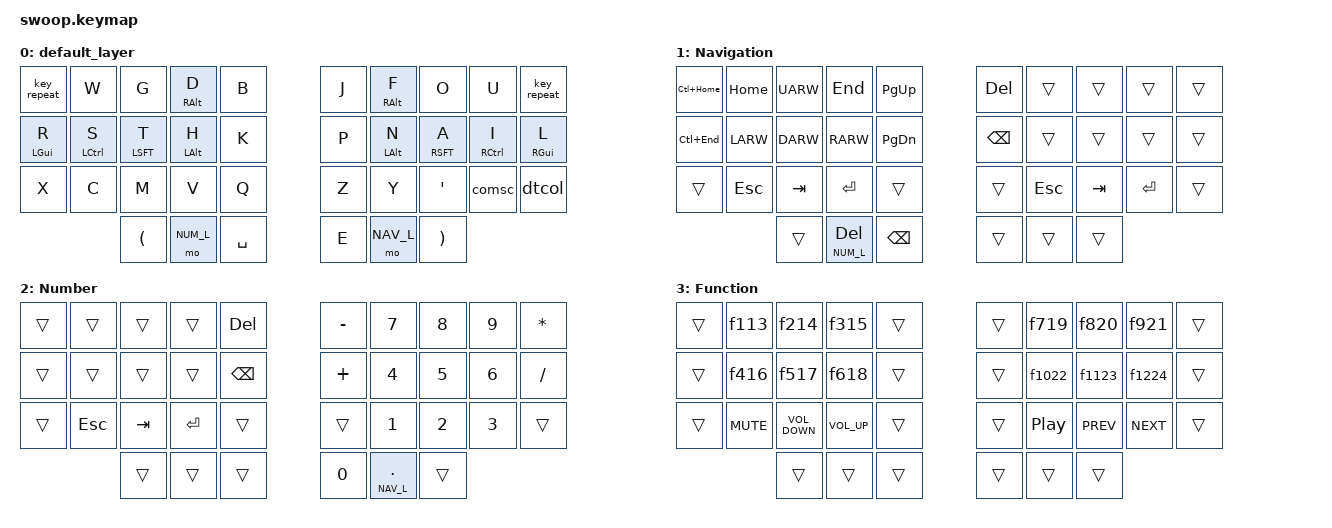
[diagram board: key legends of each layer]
/*
 * Copyright (c) 2020 The ZMK Contributors
 * SPDX-License-Identifier: MIT
 *
 * This is an APTex keymap for the Swoop keyboard.
 * Last edited by James White, July 20, 2022.
 */

#include <behaviors.dtsi>
#include <dt-bindings/zmk/keys.h>
#include <dt-bindings/zmk/bt.h>

&kscan0 {
    debounce-press-ms = <10>;
    debounce-release-ms = <10>;
};

#define DEF_L 0
#define NAV_L 1
#define NUM_L 2
#define FUN_L 3
/ {
    conditional_layers {
        compatible = "zmk,conditional-layers";
        tri_layer {
            if-layers = <1 2>;
            then-layer = <3>;
        };
    };
};

/ {
    behaviors {
        lhm: left_homerow_mods {
            compatible = "zmk,behavior-hold-tap";
            label = "LEFT_HOMEROW_MODS";
            #binding-cells = <2>;
            tapping-term-ms = <240>;
            quick-tap-ms = <0>;
            hold-trigger-key-positions = <5 6 7 8 9 15 16 17 18 19 25 26 27 28 29 30 31 32 33 34 35>;
            global-quick-tap;
            flavor = "tap-preferred";
            bindings = <&kp>, <&kp>;
        };
        rhm: right_homerow_mods {
            compatible = "zmk,behavior-hold-tap";
            label = "RIGHT_HOMEROW_MODS";
            #binding-cells = <2>;
            tapping-term-ms = <240>;
            quick-tap-ms = <0>;
            hold-trigger-key-positions = <0 1 2 3 4 10 11 12 13 14 20 21 22 23 24 30 31 32 33 34 35>;
            global-quick-tap;
            flavor = "tap-preferred";
            bindings = <&kp>, <&kp>;
        };
        comsc: comma_semicolon {
            compatible = "zmk,behavior-mod-morph";
            label = "COMMA_SEMICOLON";
            #binding-cells = <0>;
            bindings = <&kp COMMA>, <&kp SEMI>;
            mods = <(MOD_LSFT|MOD_RSFT)>;
            masked_mods = <(MOD_LSFT|MOD_RSFT)>;
        };
        dtcol: dot_colon {
            compatible = "zmk,behavior-mod-morph";
            label = "DOT_COLON";
            #binding-cells = <0>;
            bindings = <&kp DOT>, <&kp COLON>;
            mods = <(MOD_LSFT|MOD_RSFT)>;
        };
        lplt: left_parenthesis_less_than {
            compatible = "zmk,behavior-mod-morph";
            label = "LEFT_PARENTHESIS_LESS_THAN";
            #binding-cells = <0>;
            bindings = <&kp LPAR>, <&kp LT>;
            mods = <(MOD_LSFT|MOD_RSFT)>;
        };
        rpgt: right_parenthesis_greater_than {
            compatible = "zmk,behavior-mod-morph";
            label = "RIGHT_PARENTHESIS_GREATER_THAN";
            #binding-cells = <0>;
            bindings = <&kp RPAR>, <&kp GT>;
            mods = <(MOD_LSFT|MOD_RSFT)>;
        };
        f113: f_one_thirteen {
            compatible = "zmk,behavior-mod-morph";
            label = "F1 F13";
            #binding-cells = <0>;
            bindings = <&kp F1>, <&kp F13>;
            mods = <(MOD_RALT)>;
        };
        f214: f_two_fourteen {
            compatible = "zmk,behavior-mod-morph";
            label = "F2 F14";
            #binding-cells = <0>;
            bindings = <&kp F2>, <&kp F14>;
            mods = <(MOD_RALT)>;
        };
        f315: f_three_fifteen {
            compatible = "zmk,behavior-mod-morph";
            label = "F3 F15";
            #binding-cells = <0>;
            bindings = <&kp F3>, <&kp F15>;
            mods = <(MOD_RALT)>;
        };
        f416: f_four_sixteen {
            compatible = "zmk,behavior-mod-morph";
            label = "F4 F15";
            #binding-cells = <0>;
            bindings = <&kp F4>, <&kp F15>;
            mods = <(MOD_RALT)>;
        };
        f517: f_five_seventeen {
            compatible = "zmk,behavior-mod-morph";
            label = "F5 F17";
            #binding-cells = <0>;
            bindings = <&kp F5>, <&kp F17>;
            mods = <(MOD_RALT)>;
        };
        f618: f_six_eighteen {
            compatible = "zmk,behavior-mod-morph";
            label = "F6 F18";
            #binding-cells = <0>;
            bindings = <&kp F6>, <&kp F18>;
            mods = <(MOD_RALT)>;
        };
        f719: f_seven_nineteen {
            compatible = "zmk,behavior-mod-morph";
            label = "F7 F19";
            #binding-cells = <0>;
            bindings = <&kp F7>, <&kp F19>;
            mods = <(MOD_RALT)>;
        };
        f820: f_eight_twenty {
            compatible = "zmk,behavior-mod-morph";
            label = "F8 F20";
            #binding-cells = <0>;
            bindings = <&kp F8>, <&kp F20>;
            mods = <(MOD_RALT)>;
        };
        f921: f_nine_twentyone {
            compatible = "zmk,behavior-mod-morph";
            label = "F9 F21";
            #binding-cells = <0>;
            bindings = <&kp F9>, <&kp F21>;
            mods = <(MOD_RALT)>;
        };
        f1022: f_ten_twentytwo {
            compatible = "zmk,behavior-mod-morph";
            label = "F10 F22";
            #binding-cells = <0>;
            bindings = <&kp F10>, <&kp F22>;
            mods = <(MOD_RALT)>;
        };
        f1123: f_eleven_twentythree {
            compatible = "zmk,behavior-mod-morph";
            label = "F11 F23";
            #binding-cells = <0>;
            bindings = <&kp F11>, <&kp F23>;
            mods = <(MOD_RALT)>;
        };
        f1224: f_twelve_twentyfour {
            compatible = "zmk,behavior-mod-morph";
            label = "F12 F24";
            #binding-cells = <0>;
            bindings = <&kp F12>, <&kp F24>;
            mods = <(MOD_RALT)>;
        };
    };

    combos {
        compatible = "zmk,combos";
        combo_left_brace {
            timeout-ms = <50>;
            key-positions = <1 2>;
            layers = <1>;
            bindings = <&kp LBRC>;
        };
        combo_right_brace {
            timeout-ms = <50>;
            key-positions = <2 3>;
            layers = <1>;
            bindings = <&kp RBRC>;
        };
        combo_left_parenthesis {
            timeout-ms = <50>;
            key-positions = <11 12>;
            layers = <1>;
            bindings = <&lplt>;
        };
        combo_right_parenthesis {
            timeout-ms = <50>;
            key-positions = <12 13>;
            layers = <1>;
            bindings = <&rpgt>;
        };
        combo_left_bracket {
            timeout-ms = <50>;
            key-positions = <21 22>;
            layers = <1>;
            bindings = <&kp LBKT>;
        };
        combo_right_bracket {
            timeout-ms = <50>;
            key-positions = <22 23>;
            layers = <1>;
            bindings = <&kp RBKT>;
        };
        combo_grave {
            timeout-ms = <50>;
            key-positions = <6 7>;
            layers = <2>;
            bindings = <&kp GRAVE>;
        };
        combo_backslash {
            timeout-ms = <50>;
            key-positions = <7 8>;
            layers = <2>;
            bindings = <&kp BSLH>;
        };
        combo_minus {
            timeout-ms = <50>;
            key-positions = <16 17>;
            layers = <2>;
            bindings = <&kp MINUS>;
        };
        combo_equal {
            timeout-ms = <50>;
            key-positions = <17 18>;
            layers = <2>;
            bindings = <&kp EQUAL>;
        };
        combo_forward_slash {
            timeout-ms = <50>;
            key-positions = <26 27>;
            layers = <2>;
            bindings = <&kp SLASH>;
        };
        combo_question_mark {
            timeout-ms = <50>;
            key-positions = <27 28>;
            layers = <2>;
            bindings = <&kp QMARK>;
        };
        combo_ctl_sft_tab {
            timeout-ms = <25>;
            key-positions = <1 2 3>;
            layers = <0>;
            bindings = <&kp LC(LS(TAB))>;
        };
        combo_alt_sft_tab {
            timeout-ms = <25>;
            key-positions = <11 12 13>;
            layers = <0>;
            bindings = <&kp LA(LS(TAB))>;
        };
        combo_gui_sft_tab {
            timeout-ms = <25>;
            key-positions = <21 22 23>;
            layers = <0>;
            bindings = <&kp LG(LS(TAB))>;
        };
        combo_ctl_tab {
            timeout-ms = <25>;
            key-positions = <6 7 8>;
            layers = <0>;
            bindings = <&kp LC(TAB)>;
        };
        combo_alt_tab {
            timeout-ms = <25>;
            key-positions = <16 17 18>;
            layers = <0>;
            bindings = <&kp LA(TAB)>;
        };
        combo_gui_tab {
            timeout-ms = <25>;
            key-positions = <26 27 28>;
            layers = <0>;
            bindings = <&kp LG(TAB)>;
        };
        combo_cut {
            timeout-ms = <50>;
            key-positions = <1 2 3>;
            layers = <1>;
            bindings = <&kp LS(DEL)>;
        };
        combo_copy {
            timeout-ms = <50>;
            key-positions = <11 12 13>;
            layers = <1>;
            bindings = <&kp LC(INS)>;
        };
        combo_paste {
            timeout-ms = <50>;
            key-positions = <21 22 23>;
            layers = <1 2>;
            bindings = <&kp LS(INS)>;
        };
        combo_quit {
            timeout-ms = <50>;
            key-positions = <21 22>;
            layers = <2>;
            bindings = <&kp LG(Q)>;
        };
        combo_save {
            timeout-ms = <50>;
            key-positions = <22 23>;
            layers = <2>;
            bindings = <&kp LC(S)>;
        };
        combo_kwin_rotate {
            timeout-ms = <50>;
            key-positions = <6 7 8>;
            layers = <2>;
            bindings = <&kp LG(R)>;
        };
        combo_kwin_overview {
            timeout-ms = <50>;
            key-positions = <16 17 18>;
            layers = <2>;
            bindings = <&kp LG(W)>;
        };
        combo_krunner {
            timeout-ms = <50>;
            key-positions = <26 27 28>;
            layers = <1 2>;
            bindings = <&kp LG(SPC)>;
        };
        combo_toggle_navigation_layer {
            timeout-ms = <50>;
            key-positions = <10 11 12 13>;
            layers = <0 1>;
            bindings = <&tog NAV_L>;
        };
        combo_toggle_number_layer {
            timeout-ms = <50>;
            key-positions = <16 17 18 19>;
            layers = <0 2>;
            bindings = <&tog NUM_L>;
        };
        combo_cancel_stickies_left {
            timeout-ms = <50>;
            key-positions = <10 11 12 13>;
            layers = <2>;
            bindings = <&kp F21>;
        };
        combo_cancel_stickies_right {
            timeout-ms = <50>;
            key-positions = <16 17 18 19>;
            layers = <1>;
            bindings = <&kp F21>;
        };
        combo_caps_word {
            timeout-ms = <50>;
            key-positions = <13 16>;
            layers = <3>;
            bindings = <&caps_word>;
        };
        combo_printscreen {
            timeout-ms = <50>;
            key-positions = <32 33>;
            layers = <0>;
            bindings = <&kp PSCRN>;
        };
    };
};

#define LHM_LG_R &lhm LGUI R
#define LHM_LC_S &lhm LCTL S
#define LHM_LS_T &lhm LSFT T
#define LHM_LA_H &lhm LALT H
#define LHM_RA_D &lhm RALT D
#define RHM_RA_F &rhm RALT F
#define RHM_LA_N &rhm LALT N
#define RHM_RS_A &rhm RSFT A
#define RHM_RC_I &rhm RCTL I
#define RHM_RG_L &rhm RGUI L
#define LT_NM_DEL &lt NUM_L DEL
#define LT_NV_DOT &lt NAV_L DOT
#define REPEAT &key_repeat
#define TOP &kp LC(HOME)
#define BOTTOM &kp LC(END)
#define MUTE &kp C_MUTE
#define VOL_UP &kp C_VOLUME_DOWN
#define VOL_DN &kp C_VOLUME_UP
#define MEDIA_PP &kp C_PLAY_PAUSE
#define MEDIA_PV &kp C_PREV
#define MEDIA_NX &kp C_NEXT

/ {
    keymap {
        compatible = "zmk,keymap";

        default_layer {
            bindings = <
                REPEAT    &kp W     &kp G     LHM_RA_D  &kp B           &kp J     RHM_RA_F  &kp O     &kp U     REPEAT
                LHM_LG_R  LHM_LC_S  LHM_LS_T  LHM_LA_H  &kp K           &kp P     RHM_LA_N  RHM_RS_A  RHM_RC_I  RHM_RG_L
                &kp X     &kp C     &kp M     &kp V     &kp Q           &kp Z     &kp Y     &kp APOS  &comsc    &dtcol
                                    &kp LPAR  &mo NUM_L &kp SPACE       &kp E     &mo NAV_L &kp RPAR
            >;
        };

        navigation_layer {
            label = "Navigation";
            bindings = <
                TOP       &kp HOME  &kp UARW  &kp END   &kp PG_UP       &kp DEL   &trans    &trans    &trans    &trans
                BOTTOM    &kp LARW  &kp DARW  &kp RARW  &kp PG_DN       &kp BSPC  &trans    &trans    &trans    &trans
                &trans    &kp ESC   &kp TAB   &kp RET   &trans          &trans    &kp ESC   &kp TAB   &kp RET   &trans
                                    &trans    LT_NM_DEL &kp BSPC        &trans    &trans    &trans
            >;
        };

        number_layer {
            label = "Number";
            bindings = <
                &trans    &trans    &trans    &trans    &kp DEL         &kp MINUS &kp N7    &kp N8    &kp N9    &kp ASTRK
                &trans    &trans    &trans    &trans    &kp BSPC        &kp PLUS  &kp N4    &kp N5    &kp N6    &kp SLASH
                &trans    &kp ESC   &kp TAB   &kp RET   &trans          &trans    &kp N1    &kp N2    &kp N3    &trans
                                    &trans    &trans    &trans          &kp N0    LT_NV_DOT &trans
            >;
        };

        function_layer {
            label = "Function";
            bindings = <
                &trans    &f113     &f214     &f315     &trans          &trans    &f719     &f820     &f921     &trans
                &trans    &f416     &f517     &f618     &trans          &trans    &f1022    &f1123    &f1224    &trans
                &trans    MUTE      VOL_UP    VOL_DN    &trans          &trans    MEDIA_PP  MEDIA_PV  MEDIA_NX  &trans
                                    &trans    &trans    &trans          &trans    &trans    &trans
            >;
        };

    };
};
